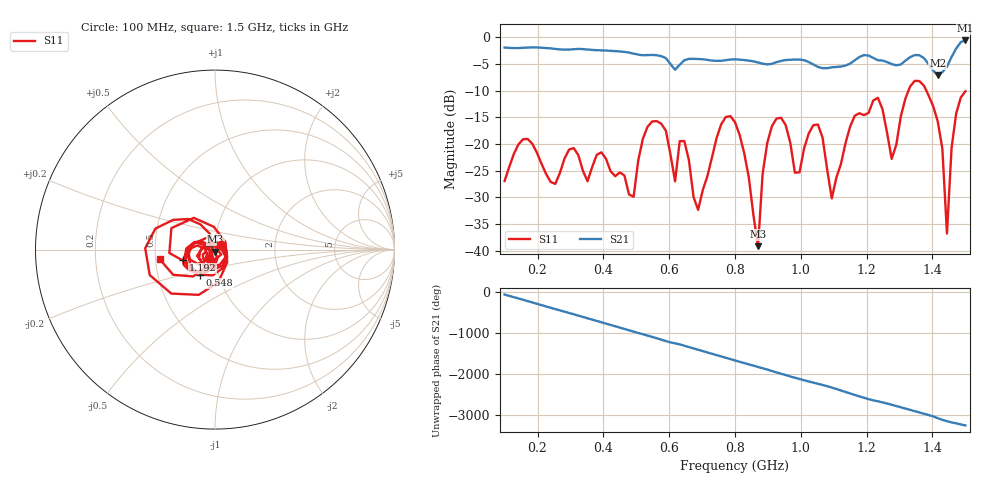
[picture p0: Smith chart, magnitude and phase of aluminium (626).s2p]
! NanoVNA-App
! Date: 2025-09-25 15:00:09
! Start: 100MHz Stop: 1,5GHz Points: 101
! S-Parameter data: F S11 S21 S12 S22
# Hz S RI R 50
!  Frequency  S11_Real  S11_Imag  S21_Real  S21_Imag  S12_Real  S12_Imag  S22_Real  S22_Imag
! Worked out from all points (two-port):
!   101 points, 100 MHz to 1.5 GHz, reference 50 ohm
!   highest |S21| = -0.59 dB at 1.5 GHz (marker M1); lowest = -7.1 dB at 1.416 GHz (marker M2)
!   |S21| within 3 dB of the highest: start of sweep to 578.2 MHz; 1.459 GHz to end of sweep (the widest 2 of 4)
!   lowest |S11| = -39.2 dB at 870 MHz (marker M3), VSWR 1.02, Z = 50.2 - j1.08 ohm
!   |S11| at or under -10 dB: start of sweep to 1.327 GHz; 1.381 GHz to end of sweep
!   S12 and S22 are empty: the file has one direction only
!   S11 on the Smith chart (normalised r, x): 100 MHz: 1.07, +0.06; 548 MHz: 0.82, -0.24; 1.192 GHz: 0.70, -0.08; 1.5 GHz: 0.53, -0.06
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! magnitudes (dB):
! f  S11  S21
! 100 MHz  -27.0  -1.9
! 156 MHz  -19.1  -2.0
! 338 MHz  -25.1  -2.2
! 492 MHz  -29.9  -3.1
! 548 MHz  -15.8  -3.3
! 576 MHz  -16.2  -3.5
! 646 MHz  -19.5  -4.3
! 688 MHz  -32.4  -4.1
! 800 MHz  -15.9  -4.1
! 870 MHz  -39.2  -4.7
! 912 MHz  -16.7  -5.0
! 982 MHz  -25.4  -4.2
! 1.038 GHz  -16.5  -5.1
! 1.094 GHz  -30.2  -5.6
! 1.192 GHz  -14.6  -3.3
! 1.234 GHz  -11.3  -4.3
! 1.276 GHz  -22.8  -5.0
! 1.346 GHz  -8.2  -3.3
! 1.416 GHz  -15.8  -7.1
! 1.444 GHz  -36.8  -5.5
! 1.458 GHz  -20.7  -3.7
! 1.5 GHz  -10.1  -0.6
